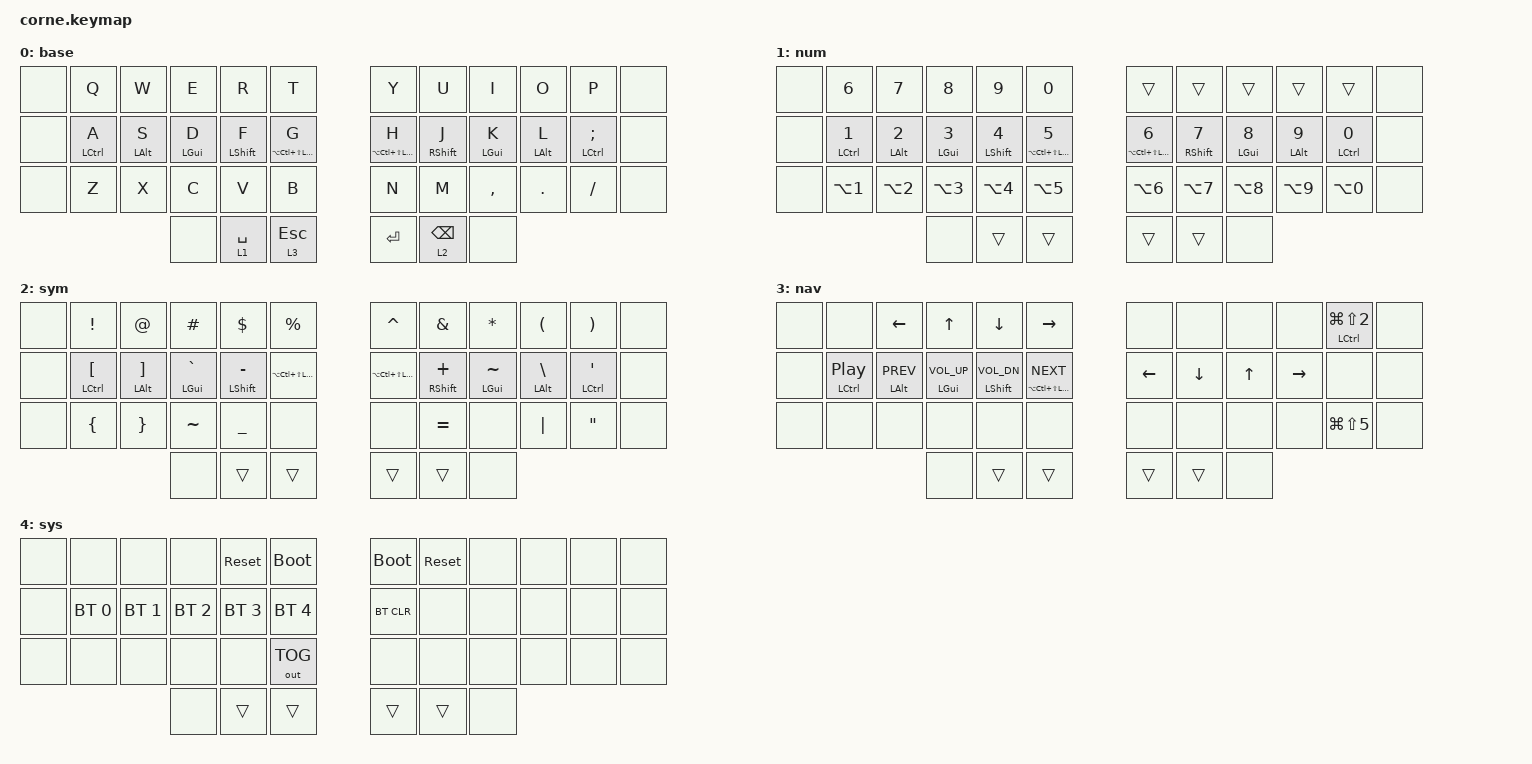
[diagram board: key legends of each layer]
/*
 * Copyright (c) 2020 The ZMK Contributors
 *
 * SPDX-License-Identifier: MIT
 */

#include <behaviors.dtsi>
#include <dt-bindings/zmk/bt.h>
#include <dt-bindings/zmk/keys.h>
#include <dt-bindings/zmk/outputs.h>

/ {
    behaviors {
        hmr: hmr {
            compatible = "zmk,behavior-hold-tap";
            label = "HMR";
            #binding-cells = <2>;
            tapping-term-ms = <280>;
            quick_tap_ms = <175>;
            flavor = "balanced";
            bindings = <&kp>, <&kp>;

            require-prior-idle-ms = <150>;
            quick-tap-ms = <175>;
            hold-trigger-on-release;
            hold-trigger-key-positions = <66 65 69 70 16 17 29 51 50 49 48 47 13 14 26 25 27 15 28 37 36 38 39 40 41 1 2 3 4 5>;
        };

        hml: hml {
            compatible = "zmk,behavior-hold-tap";
            label = "HML";
            #binding-cells = <2>;
            tapping-term-ms = <280>;
            quick_tap_ms = <175>;
            flavor = "balanced";
            bindings = <&kp>, <&kp>;

            require-prior-idle-ms = <150>;
            quick-tap-ms = <175>;
            hold-trigger-on-release;
            hold-trigger-key-positions = <22 58 57 43 44 42 56 41 40 54 55 69 70 65 66 6 7 8 9 10 18 19 20 21 22 30 31 32 33 34 39 38 36 37>;
        };

        hmlg: hmlg {
            compatible = "zmk,behavior-hold-tap";
            label = "HMLG";
            #binding-cells = <2>;
            tapping-term-ms = <280>;
            quick_tap_ms = <175>;
            flavor = "balanced";
            bindings = <&kp>, <&kp>;

            require-prior-idle-ms = <150>;
            quick-tap-ms = <175>;
            hold-trigger-on-release;
        };

        lt_spc: lt_spc {
            compatible = "zmk,behavior-hold-tap";
            label = "LT_SPC";
            bindings = <&mo>, <&kp>;

            #binding-cells = <2>;
            flavor = "tap-preferred";
            tapping-term-ms = <150>;
        };

        clt: clt {
            compatible = "zmk,behavior-hold-tap";
            label = "CLT";
            bindings = <&mo>, <&kp>;

            #binding-cells = <2>;
            flavor = "tap-unless-interrupted";
            tapping-term-ms = <500>;
            quick-tap-ms = <150>;
        };
    };

    combos {
        compatible = "zmk,combos";

        shift_hold {
            bindings = <&caps_word>;
            key-positions = <16 19>;
            layers = <0 2 1 4 3>;
            require-prior-idle-ms = <100>;
        };

        tabsss {
            bindings = <&kp TAB>;
            key-positions = <4 5>;
        };
    };

    keymap {
        compatible = "zmk,keymap";

        base {
            bindings = <
&none  &kp Q         &kp W        &kp E         &kp R            &kp T                      &kp Y                    &kp U         &kp I        &kp O        &kp P            &none
&none  &hml LCTRL A  &hml LALT S  &hmlg LGUI D  &hml LSHFT F     &hml LA(LC(LS(LGUI))) G    &hmr LA(LC(LS(LGUI))) H  &hmr RSHFT J  &hmr LGUI K  &hmr LALT L  &hmr LCTRL SEMI  &none
&none  &kp Z         &kp X        &kp C         &kp V            &kp B                      &kp N                    &kp M         &kp COMMA    &kp DOT      &kp SLASH        &none
                                  &none         &lt_spc 1 SPACE  &clt 3 ESC                 &kp RETURN               &clt 2 BSPC   &none
            >;
        };

        num {
            bindings = <
&none  &kp N6         &kp N7        &kp N8         &kp N9         &kp N0                      &trans                    &trans         &trans        &trans        &trans         &none
&none  &hml LCTRL N1  &hml LALT N2  &hmlg LGUI N3  &hml LSHFT N4  &hml LA(LC(LS(LGUI))) N5    &hml LA(LC(LS(LGUI))) N6  &hmr RSHFT N7  &hmr LGUI N8  &hmr LALT N9  &hmr LCTRL N0  &none
&none  &kp LA(N1)     &kp LA(N2)    &kp LA(N3)     &kp LA(N4)     &kp LA(N5)                  &kp LA(N6)                &kp LA(N7)     &kp LA(N8)    &kp LA(N9)    &kp LA(N0)     &none
                                    &none          &trans         &trans                      &trans                    &trans         &none
            >;
        };

        sym {
            bindings = <
&none  &kp EXCL         &kp AT          &kp HASH          &kp DLLR          &kp PRCNT               &kp CARET             &kp AMPS         &kp STAR         &kp LPAR        &kp RPAR         &none
&none  &hml LCTRL LBKT  &hml LALT RBKT  &hmlg LGUI GRAVE  &hml LSHFT MINUS  &kp LA(LC(LS(LGUI)))    &kp LA(LC(LS(LGUI)))  &hmr RSHFT PLUS  &hmr LGUI TILDE  &hmr LALT BSLH  &hmr LCTRL APOS  &none
&none  &kp LBRC         &kp RBRC        &kp TILDE         &kp UNDER         &none                   &none                 &kp EQUAL        &none            &kp PIPE        &kp DQT          &none
                                        &none             &trans            &trans                  &trans                &trans           &none
            >;
        };

        nav {
            bindings = <
&none  &none            &kp LEFT          &kp UP               &kp DOWN             &kp RIGHT                       &none     &none     &none   &none      &hmr LCTRL LG(LS(N2))  &none
&none  &hml LCTRL C_PP  &hml LALT C_PREV  &hmlg LGUI C_VOL_UP  &hml LSHFT C_VOL_DN  &hml LA(LC(LS(LGUI))) C_NEXT    &kp LEFT  &kp DOWN  &kp UP  &kp RIGHT  &none                  &none
&none  &none            &none             &none                &none                &none                           &none     &none     &none   &none      &kp LG(LS(N5))         &none
                                          &none                &trans               &trans                          &trans    &trans    &none
            >;
        };

        sys {
            bindings = <
&none  &none         &none         &none         &sys_reset    &bootloader     &bootloader  &sys_reset  &none  &none  &none  &none
&none  &bt BT_SEL 0  &bt BT_SEL 1  &bt BT_SEL 2  &bt BT_SEL 3  &bt BT_SEL 4    &bt BT_CLR   &none       &none  &none  &none  &none
&none  &none         &none         &none         &none         &out OUT_TOG    &none        &none       &none  &none  &none  &none
                                   &none         &trans        &trans          &trans       &trans      &none
            >;
        };

        //     mouse {
        //       bindings = <
        // //╭──────╮ ╭─────────────┬─────────────┬─────────────┬─────────────┬─────────────╮ ╭──────╮ ╭─────────────┬─────────────┬─────────────┬─────────────┬─────────────╮ ╭──────╮
        //     &none     &none           &none           &none           &none           &none                  U_WH_L        U_WH_D        U_WH_U        U_WH_R        &none             &none
        // //├──────┤ ├─────────────┼─────────────┼─────────────┼─────────────┼─────────────┤ ├──────┤ ├─────────────┼─────────────┼─────────────┼─────────────┼─────────────┤ ├──────┤
        //     &none     &none           &none           &none           &none           &none                  U_MS_L        U_MS_D        U_MS_U        U_MS_R        &none             &none
        // //├──────┤ ├─────────────┼─────────────┼─────────────┼─────────────┼─────────────┤ ├──────┤ ├─────────────┼─────────────┼─────────────┼─────────────┼─────────────┤ ├──────┤
        //     &none     &kp LG(Z)     &kp LG(X)     &kp LG(C)     &kp LG(V)     &kp TAB              &none           &mkp LCLK     &mkp MB2      &mkp MB3      &none             &none
        // //├──────┤ ╰─────────────┼─────────────┴─────────────┼─────────────┼─────────────┤ ├──────┤ ├─────────────┼─────────────┼─────────────┴───────────────────────────╯ ├──────┤
        //     &none                                               &trans           &trans                  &trans           &trans                                                       &none
        // //╰──────╯                                           ╰─────────────┴─────────────╯ ╰──────╯ ╰─────────────┴─────────────╯                                           ╰──────╯
        //       >;
    };
};
